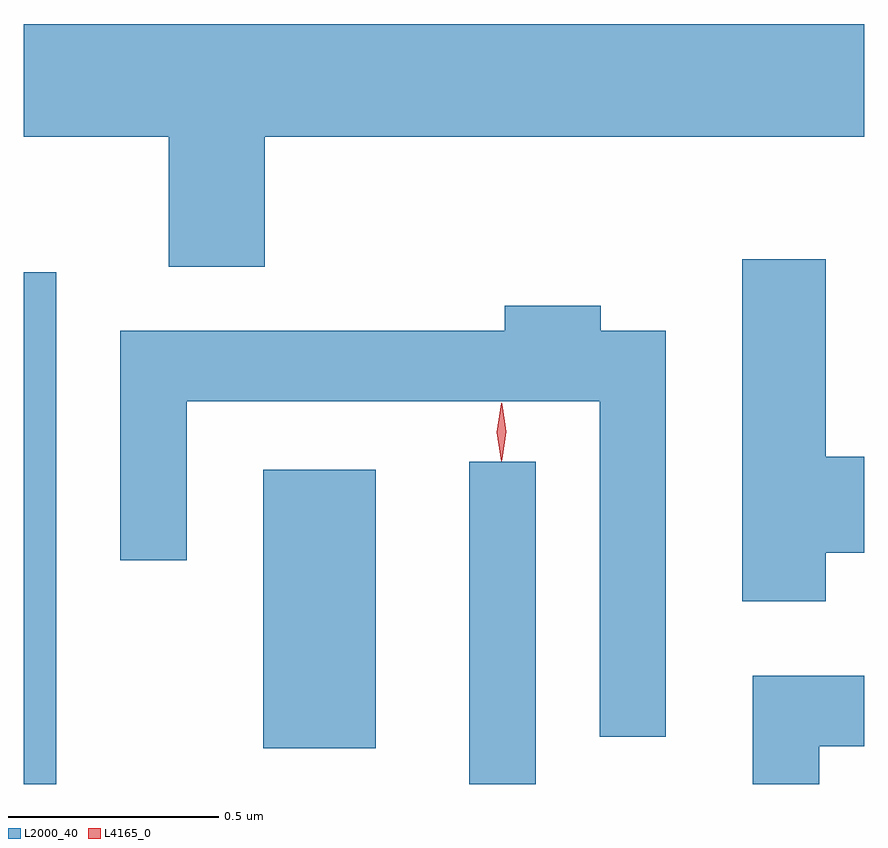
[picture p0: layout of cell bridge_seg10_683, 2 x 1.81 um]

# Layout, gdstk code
import gdstk
lib = gdstk.Library(unit=1e-6, precision=1e-09)
def R(c, l, rs):  # rectangles x0, y0, x1, y1
    for r in rs: c.add(gdstk.rectangle(r[:2], r[2:], *l))
def P(c, l, *ps):  # polygons
    for p in ps: c.add(gdstk.Polygon(p, *l))
L2000_40 = (2000, 40)
L4165_0 = (4165, 0)

bridge_seg10_683 = lib.new_cell('bridge_seg10_683')
R(bridge_seg10_683, L2000_40, [(989.476,2096.836,989.554,2098.053), (990.536,2096.836,990.694,2097.603), (990.046,2096.921,990.314,2097.584)])
P(bridge_seg10_683, L2000_40, [(990.049,2098.376),(991.476,2098.376),(991.476,2098.644),(989.476,2098.644),(989.476,2098.376),(989.821,2098.376),(989.821,2098.066),(990.049,2098.066)],
  [(991.384,2097.386),(991.476,2097.386),(991.476,2097.614),(991.384,2097.614),(991.384,2098.084),(991.186,2098.084),(991.186,2097.271),(991.384,2097.271)],
  [(991.004,2097.914),(990.849,2097.914),(990.849,2097.974),(990.621,2097.974),(990.621,2097.914),(989.706,2097.914),(989.706,2097.368),(989.864,2097.368),(989.864,2097.746),(990.846,2097.746),(990.846,2096.948),(991.004,2096.948)],
  [(991.369,2096.926),(991.476,2096.926),(991.476,2097.094),(991.211,2097.094),(991.211,2096.836),(991.369,2096.836)])
P(bridge_seg10_683, L4165_0, [(990.612,2097.604),(990.612,2097.604),(990.602,2097.673),(990.612,2097.742),(990.612,2097.743),(990.613,2097.742),(990.622,2097.673),(990.613,2097.604)],
  [(990.614,2097.607),(990.614,2097.608),(990.604,2097.674),(990.614,2097.74),(990.614,2097.741),(990.615,2097.74),(990.624,2097.674),(990.615,2097.608)])

lib.write_gds('bridge_seg10_683.gds')
